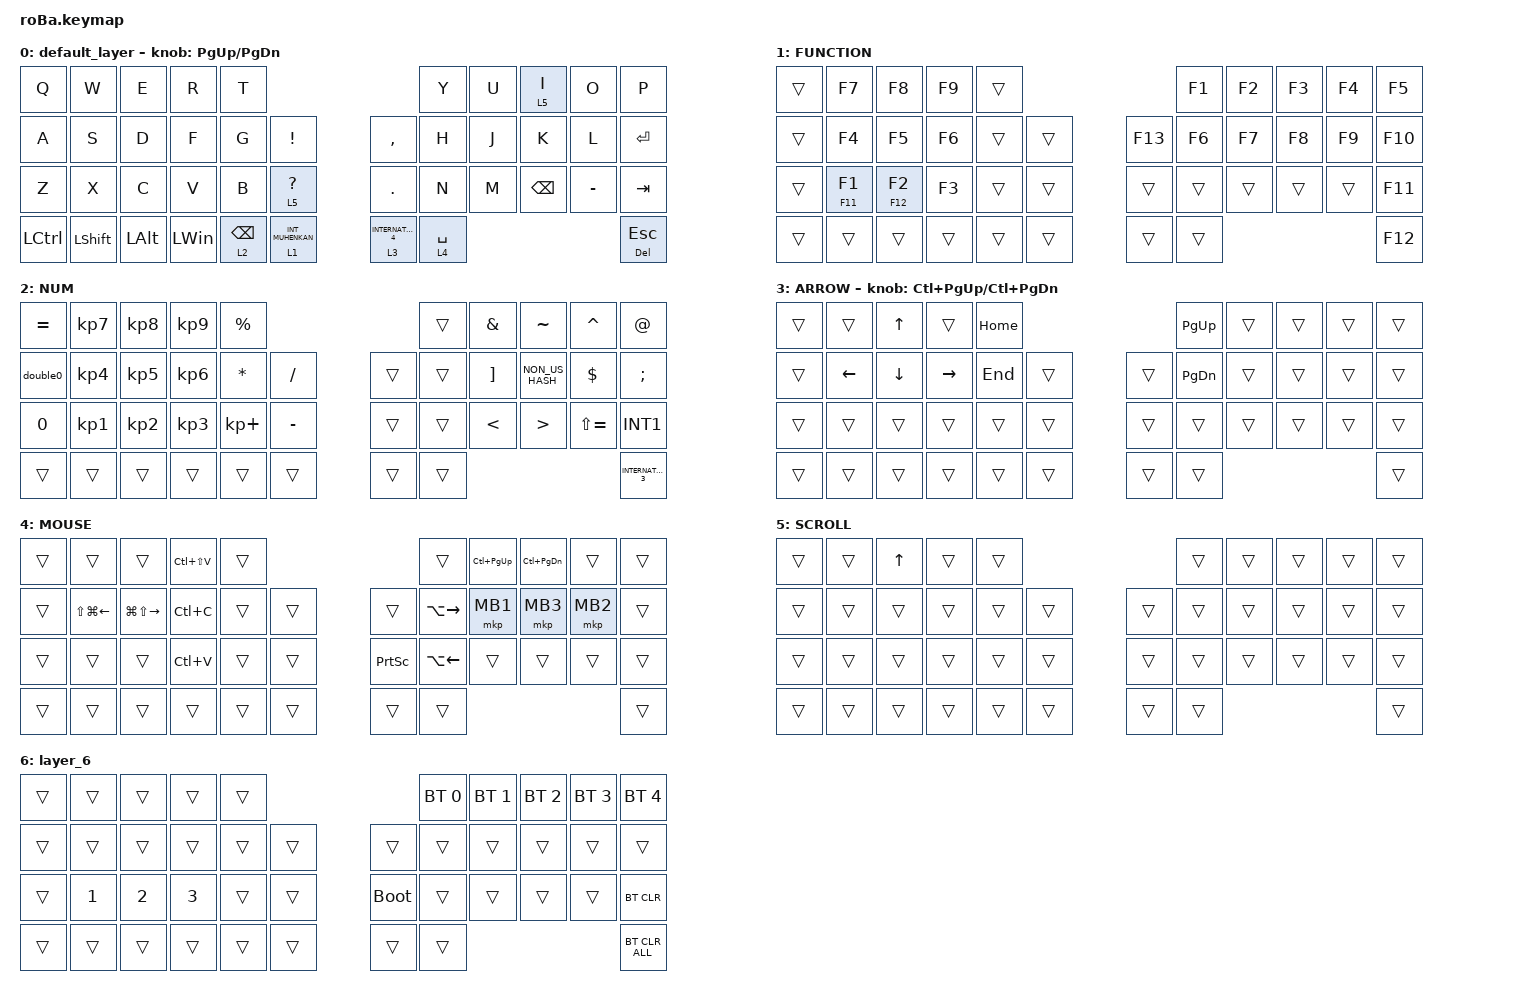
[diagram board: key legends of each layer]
#include <behaviors.dtsi>
#include <dt-bindings/zmk/bt.h>
#include <dt-bindings/zmk/keys.h>
#include <dt-bindings/zmk/pointing.h>

// OS設定を日本語キーボードのまま使用するための変換定義

#define JP_DQUOTE       AT                // "
#define JP_AMPERSAND    CARET             // &
#define JP_QUOTE        AMPERSAND         // '
#define JP_EQUAL        UNDER             // =
#define JP_CARET        EQUAL             // ^
#define JP_YEN          0x89              // ¥
#define JP_PLUS         COLON             // +
#define JP_TILDE        PLUS              // ~
#define JP_PIPE         LS(0x89)          // |
#define JP_AT           LEFT_BRACKET      // @
#define JP_COLON        SINGLE_QUOTE      // :
#define JP_ASTERISK     DOUBLE_QUOTES     // *
#define JP_BACKQUOTE    LEFT_BRACE        // `
#define JP_UNDERSCORE   LS(0x87)          // _
#define JP_LBRACKET     RIGHT_BRACKET     // [
#define JP_RBRACKET     BACKSLASH         // ]
#define JP_LPAREN       ASTERISK          // (
#define JP_RPAREN       LEFT_PARENTHESIS  // )
#define JP_LBRACE       RIGHT_BRACE       // {
#define JP_RBRACE       PIPE              // }
#define JP_KANA         LANGUAGE_1        // かな
#define JP_EISU         LANGUAGE_2        // 英数
#define JP_HANZEN       GRAVE             // 半角/全角

&mt {
    flavor = "balanced";
    quick-tap-ms = <0>;
    tapping-term-ms = <100>;
};

&trackball {
    //automouse-layer = <4>;

    scroll-layers = <5>;

    // arrows {
    //     layers = <3>;
    //     bindings =
    //         <&kp RIGHT_ARROW>,
    //         <&kp LEFT_ARROW>,
    //         <&kp UP_ARROW>,
    //         <&kp DOWN_ARROW>;
    //     tick = <10>;
    //     wait-ms = <5>;
    //     tap-ms = <5>;
    // };
};

/ {
    combos {
        compatible = "zmk,combos";

        tab {
            bindings = <&kp TAB>;
            key-positions = <11 12>;
        };

        shift_tab {
            bindings = <&kp LS(TAB)>;
            key-positions = <12 13>;
        };

        muhennkann {
            bindings = <&to_layer_0 INT_MUHENKAN>;
            key-positions = <11 10>;
        };

        double_quotation {
            bindings = <&kp DOUBLE_QUOTES>;
            key-positions = <20 21>;
        };

        eq {
            bindings = <&kp EQUAL>;
            key-positions = <24 25>;
        };
    };

    macros {
        to_layer_0: to_layer_0 {
            compatible = "zmk,behavior-macro-one-param";
            #binding-cells = <1>;
            bindings = <&to 0 &macro_param_1to1 &kp MACRO_PLACEHOLDER>;
            label = "TO_LAYER_0";
        };

        double0: double0 {
            compatible = "zmk,behavior-macro";
            #binding-cells = <0>;
            bindings = <&kp NUMBER_0 &kp NUMBER_0>;
            label = "DOUBLE0";
        };
    };

    behaviors {
        lt_to_layer_0: lt_to_layer_0 {
            compatible = "zmk,behavior-hold-tap";
            label = "LAYER_TAP_TO_0";
            bindings = <&mo>, <&to_layer_0>;

            #binding-cells = <2>;
            tapping-term-ms = <200>;
        };
    };

    keymap {
        compatible = "zmk,keymap";

        default_layer {
            bindings = <
&kp Q      &kp W           &kp E         &kp R         &kp T                                                                      &kp Y        &kp U  &lt 5 I        &kp O      &kp P
&kp A      &kp S           &kp D         &kp F         &kp G            &kp EXCLAMATION                    &kp COMMA              &kp H        &kp J  &kp K          &kp L      &kp ENTER
&kp Z      &kp X           &kp C         &kp V         &kp B            &lt 5 QUESTION                     &kp PERIOD             &kp N        &kp M  &kp BACKSPACE  &kp MINUS  &kp TAB
&kp LCTRL  &kp LEFT_SHIFT  &kp LEFT_ALT  &kp LEFT_WIN  &lt 2 BACKSPACE  &lt_to_layer_0 1 INT_MUHENKAN      &lt 3 INTERNATIONAL_4  &lt 4 SPACE                                   &mt DELETE ESCAPE
            >;

            sensor-bindings = <&inc_dec_kp PG_UP PAGE_DOWN>;
        };

        FUNCTION {
            bindings = <
&trans  &kp F7      &kp F8      &kp F9  &trans                       &kp F1  &kp F2  &kp F3  &kp F4  &kp F5
&trans  &kp F4      &kp F5      &kp F6  &trans  &trans      &kp F13  &kp F6  &kp F7  &kp F8  &kp F9  &kp F10
&trans  &mt F11 F1  &mt F12 F2  &kp F3  &trans  &trans      &trans   &trans  &trans  &trans  &trans  &kp F11
&trans  &trans      &trans      &trans  &trans  &trans      &trans   &trans                          &kp F12
            >;
        };

        NUM {
            bindings = <
&kp EQUAL     &kp KP_NUMBER_7  &kp KP_NUMBER_8  &kp KP_NUMBER_9  &kp PERCENT                          &trans  &kp AMPERSAND      &kp TILDE         &kp CARET      &kp AT
&double0      &kp KP_NUMBER_4  &kp KP_NUMBER_5  &kp KP_NUMBER_6  &kp ASTERISK  &kp SLASH      &trans  &trans  &kp RIGHT_BRACKET  &kp NON_US_HASH   &kp DOLLAR     &kp SEMICOLON
&kp NUMBER_0  &kp KP_NUMBER_1  &kp KP_NUMBER_2  &kp KP_NUMBER_3  &kp KP_PLUS   &kp MINUS      &trans  &trans  &kp LESS_THAN      &kp GREATER_THAN  &kp LS(EQUAL)  &kp INT1
&trans        &trans           &trans           &trans           &trans        &trans         &trans  &trans                                                      &kp INTERNATIONAL_3
            >;
        };

        ARROW {
            bindings = <
&trans  &trans          &kp UP_ARROW    &trans           &kp HOME                      &kp PAGE_UP    &trans  &trans  &trans  &trans
&trans  &kp LEFT_ARROW  &kp DOWN_ARROW  &kp RIGHT_ARROW  &kp END   &trans      &trans  &kp PAGE_DOWN  &trans  &trans  &trans  &trans
&trans  &trans          &trans          &trans           &trans    &trans      &trans  &trans         &trans  &trans  &trans  &trans
&trans  &trans          &trans          &trans           &trans    &trans      &trans  &trans                                 &trans
            >;

            sensor-bindings = <&inc_dec_kp LC(PAGE_UP) LC(PAGE_DOWN)>;
        };

        MOUSE {
            bindings = <
&trans  &trans            &trans             &kp LC(LS(V))  &trans                               &trans         &kp LC(PAGE_UP)  &kp LC(PAGE_DOWN)  &trans    &trans
&trans  &kp LS(LG(LEFT))  &kp LG(LS(RIGHT))  &kp LC(C)      &trans  &trans      &trans           &kp LA(RIGHT)  &mkp MB1         &mkp MB3           &mkp MB2  &trans
&trans  &trans            &trans             &kp LC(V)      &trans  &trans      &kp PRINTSCREEN  &kp LA(LEFT)   &trans           &trans             &trans    &trans
&trans  &trans            &trans             &trans         &trans  &trans      &trans           &trans                                                       &trans
            >;
        };

        SCROLL {
            bindings = <
&trans  &trans  &kp UP  &trans  &trans                      &trans  &trans  &trans  &trans  &trans
&trans  &trans  &trans  &trans  &trans  &trans      &trans  &trans  &trans  &trans  &trans  &trans
&trans  &trans  &trans  &trans  &trans  &trans      &trans  &trans  &trans  &trans  &trans  &trans
&trans  &trans  &trans  &trans  &trans  &trans      &trans  &trans                          &trans
            >;
        };

        layer_6 {
            bindings = <
&trans  &trans        &trans        &trans        &trans                           &bt BT_SEL 0  &bt BT_SEL 1  &bt BT_SEL 2  &bt BT_SEL 3  &bt BT_SEL 4
&trans  &trans        &trans        &trans        &trans  &trans      &trans       &trans        &trans        &trans        &trans        &trans
&trans  &kp NUMBER_1  &kp NUMBER_2  &kp NUMBER_3  &trans  &trans      &bootloader  &trans        &trans        &trans        &trans        &bt BT_CLR
&trans  &trans        &trans        &trans        &trans  &trans      &trans       &trans                                                  &bt BT_CLR_ALL
            >;
        };
    };
};
